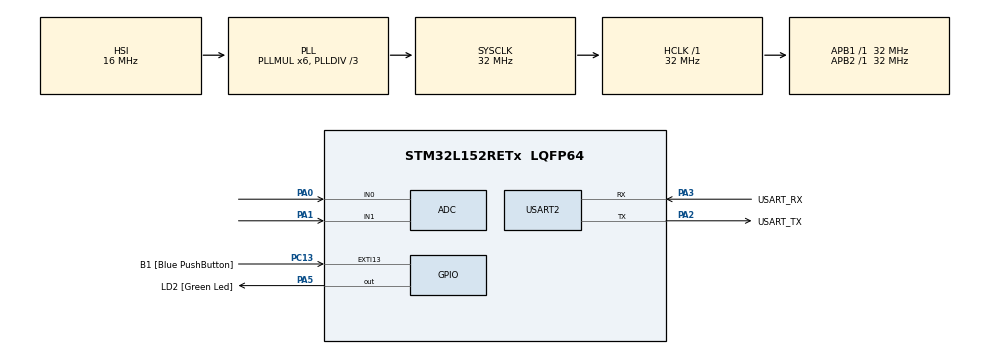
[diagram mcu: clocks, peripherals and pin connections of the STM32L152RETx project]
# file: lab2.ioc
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ADC.Channel-0\#ChannelRegularConversion=ADC_CHANNEL_0
ADC.NbrOfConversionFlag=1
ADC.Rank-0\#ChannelRegularConversion=1
ADC.SamplingTime-0\#ChannelRegularConversion=ADC_SAMPLETIME_4CYCLES
Mcu.Family=STM32L1
Mcu.Name=STM32L152RETx
Mcu.Package=LQFP64
NVIC.PriorityGroup=NVIC_PRIORITYGROUP_0
PA0-WKUP1.Mode=IN0
PA0-WKUP1.Signal=ADC_IN0
PA1.Mode=IN1
PA1.Signal=ADC_IN1
PA13.GPIO_Label=TMS
PA13.Mode=Serial_Wire
PA13.Signal=SYS_JTMS-SWDIO
PA14.GPIO_Label=TCK
PA14.Mode=Serial_Wire
PA14.Signal=SYS_JTCK-SWCLK
PA2.GPIO_Label=USART_TX
PA2.Mode=Asynchronous
PA2.Signal=USART2_TX
PA3.GPIO_Label=USART_RX
PA3.Mode=Asynchronous
PA3.Signal=USART2_RX
PA5.GPIO_Label=LD2 [Green Led]
PA5.Signal=GPIO_Output
PB3.GPIO_Label=SWO
PB3.Signal=SYS_JTDO-TRACESWO
PC13-WKUP2.GPIO_Label=B1 [Blue PushButton]
PC13-WKUP2.Signal=GPXTI13
PC14-OSC32_IN.Mode=LSE-External-Oscillator
PC14-OSC32_IN.Signal=RCC_OSC32_IN
PC15-OSC32_OUT.Mode=LSE-External-Oscillator
PC15-OSC32_OUT.Signal=RCC_OSC32_OUT
PH0-OSC_IN.Mode=HSE-External-Clock-Source
PH0-OSC_IN.Signal=RCC_OSC_IN
PH1-OSC_OUT.Signal=RCC_OSC_OUT
ProjectManager.HeapSize=0x200
ProjectManager.StackSize=0x400
ProjectManager.TargetToolchain=TrueSTUDIO
RCC.48MHZClocksFreq_Value=48000000
RCC.AHBFreq_Value=32000000
RCC.APB1Freq_Value=32000000
RCC.APB1TimFreq_Value=32000000
RCC.APB2Freq_Value=32000000
RCC.APB2TimFreq_Value=32000000
RCC.HCLKFreq_Value=32000000
RCC.HSE_VALUE=8000000
RCC.HSI_VALUE=16000000
RCC.MSI_VALUE=2097000
RCC.PLLDIV=RCC_PLL_DIV3
RCC.PLLMUL=RCC_PLL_MUL6
RCC.RTCClockSelectionVirtual=RCC_RTCCLKSOURCE_LSE
RCC.SYSCLKFreq_VALUE=32000000
RCC.SYSCLKSource=RCC_SYSCLKSOURCE_PLLCLK
RCC.USBOutput=48000000
RCC.VCOOutputFreq_Value=96000000
USART2.VirtualMode=VM_ASYNC
board=NUCLEO-L152RE

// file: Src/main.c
/**
 ******************************************************************************
 * @file           : main.c
 * @brief          : Main program body
 ******************************************************************************
 ** This notice applies to any and all portions of this file
 * that are not between comment pairs USER CODE BEGIN and
 * USER CODE END. Other portions of this file, whether
 * inserted by the user or by software development tools
 * are owned by their respective copyright owners.
 *
 * COPYRIGHT(c) 2018 STMicroelectronics
 *
 * Redistribution and use in source and binary forms, with or without modification,
 * are permitted provided that the following conditions are met:
 *   1. Redistributions of source code must retain the above copyright notice,
 *      this list of conditions and the following disclaimer.
 *   2. Redistributions in binary form must reproduce the above copyright notice,
 *      this list of conditions and the following disclaimer in the documentation
 *      and/or other materials provided with the distribution.
 *   3. Neither the name of STMicroelectronics nor the names of its contributors
 *      may be used to endorse or promote products derived from this software
 *      without specific prior written permission.
 *
 * THIS SOFTWARE IS PROVIDED BY THE COPYRIGHT HOLDERS AND CONTRIBUTORS "AS IS"
 * AND ANY EXPRESS OR IMPLIED WARRANTIES, INCLUDING, BUT NOT LIMITED TO, THE
 * IMPLIED WARRANTIES OF MERCHANTABILITY AND FITNESS FOR A PARTICULAR PURPOSE ARE
 * DISCLAIMED. IN NO EVENT SHALL THE COPYRIGHT HOLDER OR CONTRIBUTORS BE LIABLE
 * FOR ANY DIRECT, INDIRECT, INCIDENTAL, SPECIAL, EXEMPLARY, OR CONSEQUENTIAL
 * DAMAGES (INCLUDING, BUT NOT LIMITED TO, PROCUREMENT OF SUBSTITUTE GOODS OR
 * SERVICES; LOSS OF USE, DATA, OR PROFITS; OR BUSINESS INTERRUPTION) HOWEVER
 * CAUSED AND ON ANY THEORY OF LIABILITY, WHETHER IN CONTRACT, STRICT LIABILITY,
 * OR TORT (INCLUDING NEGLIGENCE OR OTHERWISE) ARISING IN ANY WAY OUT OF THE USE
 * OF THIS SOFTWARE, EVEN IF ADVISED OF THE POSSIBILITY OF SUCH DAMAGE.
 *
 ******************************************************************************
 */
#include "main.h"
#include "stm32l1xx_hal.h"
#include "stdio.h"
#include "string.h"

ADC_HandleTypeDef hadc;
UART_HandleTypeDef huart2;
ADC_ChannelConfTypeDef sConfig;

uint32_t adc_result, result[5], swap;
const int timeout = 50;
uint8_t data[40];
double temperature;
int upper, lower, stt, i, j;
/* USER CODE BEGIN PV */
/* Private variables ---------------------------------------------------------*/

/* USER CODE END PV */

void SystemClock_Config(void);
static void MX_GPIO_Init(void);
static void MX_USART2_UART_Init(void);
static void MX_ADC_Init(void);
void MX_ADC_Init_Channel(uint32_t);
void send_message(char*, double, char*);

/* USER CODE BEGIN PFP */
/* Private function prototypes -----------------------------------------------*/

/* USER CODE END PFP */

int main(void) {

	/* MCU Configuration----------------------------------------------------------*/

	/* Reset of all peripherals, Initializes the Flash interface and the Systick. */
	HAL_Init();

	/* Configure the system clock */
	SystemClock_Config();

	/* Initialize all configured peripherals */
	MX_GPIO_Init();
	MX_USART2_UART_Init();
	MX_ADC_Init();

	/* Infinite loop */
	/* USER CODE BEGIN WHILE */
	while (1) {
		MX_ADC_Init_Channel(ADC_CHANNEL_0);
		for (i=0; i<5; i++){
			// get adc result
			HAL_ADC_Start(&hadc);
			stt = HAL_ADC_PollForConversion(&hadc, timeout);
			if (stt == HAL_OK) {
				adc_result = HAL_ADC_GetValue(&hadc);
			} else {
				adc_result = stt;
			}
			HAL_ADC_Stop(&hadc);
			result[i] = adc_result;
			HAL_Delay(timeout);
		}

		// selection sort
		for (i=0; i<5; i++)
			for (j=4; j>i; j--)
				if (result[i]<result[j]) {
					swap = result[i];
					result[i] = result[j];
					result[j] = swap;
				}

		// format
		adc_result = result[2];
		temperature = ((double)adc_result)/4096*100 - 50;
		send_message("Temperature (CN1)", temperature, "*C");

		MX_ADC_Init_Channel(ADC_CHANNEL_1);
		HAL_ADC_Start(&hadc);
		stt = HAL_ADC_PollForConversion(&hadc, timeout);
		if (stt == HAL_OK) {
			adc_result = HAL_ADC_GetValue(&hadc);
		} else {
			adc_result = stt;
		}
		HAL_ADC_Stop(&hadc);
		temperature = ((double)adc_result)/4096*3.3;
		send_message("Voltage     (CN2)", temperature, "V");
		/* USER CODE END WHILE */

	}

}

void send_message(char* caption, double value, char* unit){
	lower = trunc(value * 100);
	upper = lower/100;
	lower = abs(lower)%100;
	if (lower > 9)
		sprintf(data, "%s: %3d.%d %2s \n", caption, upper, lower, unit);
	else
		sprintf(data, "%s: %3d.0%d %2s \n", caption, upper, lower, unit);
	HAL_GPIO_WritePin(LD2_GPIO_Port, LD2_Pin, GPIO_PIN_SET);
	HAL_UART_Transmit(&huart2, data, (uint16_t) strlen(data), timeout);
	HAL_GPIO_WritePin(LD2_GPIO_Port, LD2_Pin, GPIO_PIN_RESET);
}

void SystemClock_Config(void) {

	RCC_OscInitTypeDef RCC_OscInitStruct;
	RCC_ClkInitTypeDef RCC_ClkInitStruct;

	/**Configure the main internal regulator output voltage
	 */
	__HAL_PWR_VOLTAGESCALING_CONFIG(PWR_REGULATOR_VOLTAGE_SCALE1);

	/**Initializes the CPU, AHB and APB busses clocks
	 */
	RCC_OscInitStruct.OscillatorType = RCC_OSCILLATORTYPE_HSI;
	RCC_OscInitStruct.HSIState = RCC_HSI_ON;
	RCC_OscInitStruct.HSICalibrationValue = 16;
	RCC_OscInitStruct.PLL.PLLState = RCC_PLL_ON;
	RCC_OscInitStruct.PLL.PLLSource = RCC_PLLSOURCE_HSI;
	RCC_OscInitStruct.PLL.PLLMUL = RCC_PLL_MUL6;
	RCC_OscInitStruct.PLL.PLLDIV = RCC_PLL_DIV3;
	if (HAL_RCC_OscConfig(&RCC_OscInitStruct) != HAL_OK) {
		_Error_Handler(__FILE__, __LINE__);
	}

	/**Initializes the CPU, AHB and APB busses clocks
	 */
	RCC_ClkInitStruct.ClockType = RCC_CLOCKTYPE_HCLK | RCC_CLOCKTYPE_SYSCLK
			| RCC_CLOCKTYPE_PCLK1 | RCC_CLOCKTYPE_PCLK2;
	RCC_ClkInitStruct.SYSCLKSource = RCC_SYSCLKSOURCE_PLLCLK;
	RCC_ClkInitStruct.AHBCLKDivider = RCC_SYSCLK_DIV1;
	RCC_ClkInitStruct.APB1CLKDivider = RCC_HCLK_DIV1;
	RCC_ClkInitStruct.APB2CLKDivider = RCC_HCLK_DIV1;

	if (HAL_RCC_ClockConfig(&RCC_ClkInitStruct, FLASH_LATENCY_1) != HAL_OK) {
		_Error_Handler(__FILE__, __LINE__);
	}

	/**Configure the Systick interrupt time
	 */
	HAL_SYSTICK_Config(HAL_RCC_GetHCLKFreq() / 1000);

	/**Configure the Systick
	 */
	HAL_SYSTICK_CLKSourceConfig(SYSTICK_CLKSOURCE_HCLK);

	/* SysTick_IRQn interrupt configuration */
	HAL_NVIC_SetPriority(SysTick_IRQn, 0, 0);
}

/* ADC init function */
static void MX_ADC_Init(void) {
	/**Configure the global features of the ADC (Clock, Resolution, Data Alignment and number of conversion)
	 */
	hadc.Instance = ADC1;
	hadc.Init.ClockPrescaler = ADC_CLOCK_ASYNC_DIV1;
	hadc.Init.Resolution = ADC_RESOLUTION_12B;
	hadc.Init.DataAlign = ADC_DATAALIGN_RIGHT;
	hadc.Init.ScanConvMode = ADC_SCAN_DISABLE;
	hadc.Init.EOCSelection = ADC_EOC_SEQ_CONV;
	hadc.Init.LowPowerAutoWait = ADC_AUTOWAIT_DISABLE;
	hadc.Init.LowPowerAutoPowerOff = ADC_AUTOPOWEROFF_DISABLE;
	hadc.Init.ChannelsBank = ADC_CHANNELS_BANK_A;
	hadc.Init.ContinuousConvMode = DISABLE;
	hadc.Init.NbrOfConversion = 1;
	hadc.Init.DiscontinuousConvMode = DISABLE;
	hadc.Init.ExternalTrigConv = ADC_SOFTWARE_START;
	hadc.Init.ExternalTrigConvEdge = ADC_EXTERNALTRIGCONVEDGE_NONE;
	hadc.Init.DMAContinuousRequests = DISABLE;
	if (HAL_ADC_Init(&hadc) != HAL_OK) {
		_Error_Handler(__FILE__, __LINE__);
	}
}

void MX_ADC_Init_Channel(uint32_t channel){
	/**Configure for the selected ADC regular channel its corresponding rank in the sequencer and its sample time.
	 */
	sConfig.Channel = channel;
	sConfig.Rank = ADC_REGULAR_RANK_1;
	sConfig.SamplingTime = ADC_SAMPLETIME_4CYCLES;
	if (HAL_ADC_ConfigChannel(&hadc, &sConfig) != HAL_OK) {
		_Error_Handler(__FILE__, __LINE__);
	}
}

/* USART2 init function */
static void MX_USART2_UART_Init(void) {

	huart2.Instance = USART2;
	huart2.Init.BaudRate = 115200;
	huart2.Init.WordLength = UART_WORDLENGTH_8B;
	huart2.Init.StopBits = UART_STOPBITS_1;
	huart2.Init.Parity = UART_PARITY_NONE;
	huart2.Init.Mode = UART_MODE_TX_RX;
	huart2.Init.HwFlowCtl = UART_HWCONTROL_NONE;
	huart2.Init.OverSampling = UART_OVERSAMPLING_16;
	if (HAL_UART_Init(&huart2) != HAL_OK) {
		_Error_Handler(__FILE__, __LINE__);
	}

}

/** Configure pins as
 * Analog
 * Input
 * Output
 * EVENT_OUT
 * EXTI
 */
static void MX_GPIO_Init(void) {

	GPIO_InitTypeDef GPIO_InitStruct;

	/* GPIO Ports Clock Enable */
	__HAL_RCC_GPIOC_CLK_ENABLE()
	;
	__HAL_RCC_GPIOH_CLK_ENABLE()
	;
	__HAL_RCC_GPIOA_CLK_ENABLE()
	;
	__HAL_RCC_GPIOB_CLK_ENABLE()
	;

	/*Configure GPIO pin Output Level */
	HAL_GPIO_WritePin(LD2_GPIO_Port, LD2_Pin, GPIO_PIN_RESET);

	/*Configure GPIO pin : B1_Pin */
	GPIO_InitStruct.Pin = B1_Pin;
	GPIO_InitStruct.Mode = GPIO_MODE_IT_RISING;
	GPIO_InitStruct.Pull = GPIO_NOPULL;
	HAL_GPIO_Init(B1_GPIO_Port, &GPIO_InitStruct);

	/*Configure GPIO pin : LD2_Pin */
	GPIO_InitStruct.Pin = LD2_Pin;
	GPIO_InitStruct.Mode = GPIO_MODE_OUTPUT_PP;
	GPIO_InitStruct.Pull = GPIO_NOPULL;
	GPIO_InitStruct.Speed = GPIO_SPEED_FREQ_LOW;
	HAL_GPIO_Init(LD2_GPIO_Port, &GPIO_InitStruct);

}

void _Error_Handler(char *file, int line) {
	while (1) {
	}
}

/************************ (C) COPYRIGHT STMicroelectronics *****END OF FILE****/
